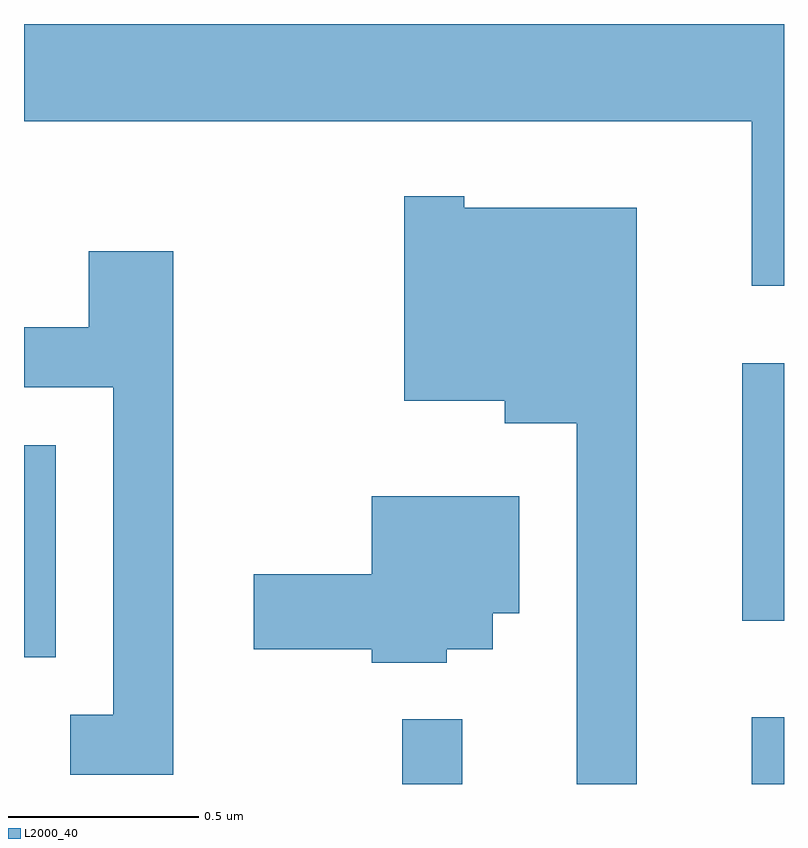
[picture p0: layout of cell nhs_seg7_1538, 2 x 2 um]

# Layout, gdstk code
import gdstk
lib = gdstk.Library(unit=1e-6, precision=1e-09)
def R(c, l, rs):  # rectangles x0, y0, x1, y1
    for r in rs: c.add(gdstk.rectangle(r[:2], r[2:], *l))
def P(c, l, *ps):  # polygons
    for p in ps: c.add(gdstk.Polygon(p, *l))
L2000_40 = (2000, 40)

nhs_seg7_1538 = lib.new_cell('nhs_seg7_1538')
R(nhs_seg7_1538, L2000_40, [(197.606,1699.252,197.764,1699.423), (198.526,1699.252,198.611,1699.428), (196.611,1699.586,196.694,1700.144), (198.501,1699.681,198.611,1700.359)])
P(nhs_seg7_1538, L2000_40, [(198.611,1701.252),(196.611,1701.252),(196.611,1700.996),(198.526,1700.996),(198.526,1700.563),(198.611,1700.563)],
  [(198.224,1700.769),(197.769,1700.769),(197.769,1700.799),(197.611,1700.799),(197.611,1700.261),(197.876,1700.261),(197.876,1700.201),(198.066,1700.201),(198.066,1699.252),(198.224,1699.252)],
  [(197.004,1700.654),(196.781,1700.654),(196.781,1700.454),(196.611,1700.454),(196.611,1700.296),(196.846,1700.296),(196.846,1699.434),(196.733,1699.434),(196.733,1699.276),(197.004,1699.276)],
  [(197.724,1699.606),(197.844,1699.606),(197.844,1699.701),(197.914,1699.701),(197.914,1700.009),(197.526,1700.009),(197.526,1699.804),(197.216,1699.804),(197.216,1699.606),(197.526,1699.606),(197.526,1699.571),(197.724,1699.571)])

lib.write_gds('nhs_seg7_1538.gds')
